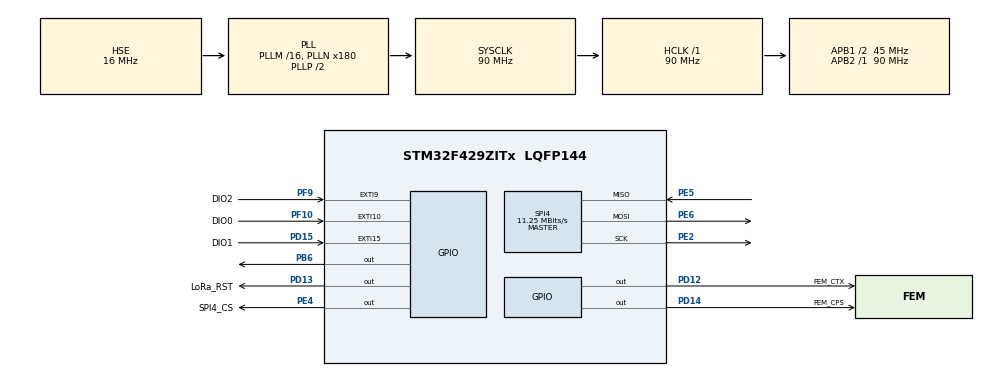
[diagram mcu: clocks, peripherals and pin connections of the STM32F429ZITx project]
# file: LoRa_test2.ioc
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Mcu.Family=STM32F4
Mcu.Name=STM32F429ZITx
Mcu.Package=LQFP144
NVIC.EXTI15_10_IRQn=true\:0\:0\:false\:false\:true\:true\:true\:true
NVIC.PriorityGroup=NVIC_PRIORITYGROUP_4
NVIC.SPI4_IRQn=true\:0\:0\:false\:false\:true\:true\:true\:true
NVIC.TIM2_IRQn=true\:0\:0\:false\:false\:true\:true\:true\:true
PA13.Mode=Serial_Wire
PA13.Signal=SYS_JTMS-SWDIO
PA14.Mode=Serial_Wire
PA14.Signal=SYS_JTCK-SWCLK
PB6.Signal=GPIO_Output
PC14/OSC32_IN.Mode=LSE-External-Oscillator
PC14/OSC32_IN.Signal=RCC_OSC32_IN
PC15/OSC32_OUT.Mode=LSE-External-Oscillator
PC15/OSC32_OUT.Signal=RCC_OSC32_OUT
PD12.GPIO_Label=FEM_CTX
PD12.Signal=GPIO_Output
PD13.GPIO_Label=LoRa_RST
PD13.PinState=GPIO_PIN_SET
PD13.Signal=GPIO_Output
PD14.GPIO_Label=FEM_CPS
PD14.Signal=GPIO_Output
PD15.GPIO_Label=DIO1
PD15.Signal=GPXTI15
PE2.Mode=Full_Duplex_Master
PE2.Signal=SPI4_SCK
PE4.GPIO_Label=SPI4_CS
PE4.PinState=GPIO_PIN_SET
PE4.Signal=GPIO_Output
PE5.Mode=Full_Duplex_Master
PE5.Signal=SPI4_MISO
PE6.Mode=Full_Duplex_Master
PE6.Signal=SPI4_MOSI
PF10.GPIO_Label=DIO0
PF10.Signal=GPXTI10
PF9.GPIO_Label=DIO2
PF9.Signal=GPXTI9
PH0/OSC_IN.Mode=HSE-External-Oscillator
PH0/OSC_IN.Signal=RCC_OSC_IN
PH1/OSC_OUT.Mode=HSE-External-Oscillator
PH1/OSC_OUT.Signal=RCC_OSC_OUT
ProjectManager.HeapSize=0x200
ProjectManager.StackSize=0x400
ProjectManager.TargetToolchain=STM32CubeIDE
RCC.48MHZClocksFreq_Value=45000000
RCC.AHBFreq_Value=90000000
RCC.APB1CLKDivider=RCC_HCLK_DIV2
RCC.APB1Freq_Value=45000000
RCC.APB1TimFreq_Value=90000000
RCC.APB2Freq_Value=90000000
RCC.APB2TimFreq_Value=90000000
RCC.CortexFreq_Value=90000000
RCC.HCLKFreq_Value=90000000
RCC.HSE_VALUE=16000000
RCC.HSI_VALUE=16000000
RCC.PLLN=180
RCC.PLLSourceVirtual=RCC_PLLSOURCE_HSE
RCC.SYSCLKFreq_VALUE=90000000
RCC.SYSCLKSource=RCC_SYSCLKSOURCE_PLLCLK
RCC.VCOOutputFreq_Value=180000000
SPI4.BaudRatePrescaler=SPI_BAUDRATEPRESCALER_8
SPI4.CalculateBaudRate=11.25 MBits/s
SPI4.Direction=SPI_DIRECTION_2LINES
SPI4.Mode=SPI_MODE_MASTER
SPI4.VirtualType=VM_MASTER
TIM2.AutoReloadPreload=TIM_AUTORELOAD_PRELOAD_ENABLE
TIM2.Period=9000
TIM2.Prescaler=10000
VP_TIM2_VS_ClockSourceINT.Mode=Internal
board=custom

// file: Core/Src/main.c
/* USER CODE BEGIN Header */
/**
  ******************************************************************************
  * @file           : main.c
  * @brief          : Main program body
  ******************************************************************************
  * @attention
  *
  * Copyright (c) 2023 STMicroelectronics.
  * All rights reserved.
  *
  * This software is licensed under terms that can be found in the LICENSE file
  * in the root directory of this software component.
  * If no LICENSE file comes with this software, it is provided AS-IS.
  *
  ******************************************************************************
  */
/* USER CODE END Header */
#include "main.h"
#include "spi.h"
#include "tim.h"
#include "gpio.h"

/* USER CODE BEGIN PV */
uint8_t check_ver;
uint8_t check_ver2;
uint8_t addrval;
bool testvar;
bool testvar2;
uint32_t costtime;
LoRa myLoRa;
float testfloat;
uint32_t lastTic;
uint16_t intervalTime;
uint8_t FlightModeON;
/* USER CODE END PV */

void SystemClock_Config(void);
/* USER CODE BEGIN PFP */
float hex2float(uint8_t* hexNum);
/* USER CODE END PFP */

int main(void)
{

  /* MCU Configuration--------------------------------------------------------*/

  /* Reset of all peripherals, Initializes the Flash interface and the Systick. */
  HAL_Init();

  /* Configure the system clock */
  SystemClock_Config();

  /* Initialize all configured peripherals */
  MX_GPIO_Init();
  MX_SPI4_Init();
  MX_TIM2_Init();
  /* USER CODE BEGIN 2 */

  myLoRa.hSPIx = &hspi4;
  myLoRa.CS_port = SPI4_CS_GPIO_Port;
  myLoRa.CS_pin = SPI4_CS_Pin;
  myLoRa.reset_port = LoRa_RST_GPIO_Port;
  myLoRa.reset_pin = LoRa_RST_Pin;
  myLoRa.DIO0_port = DIO0_GPIO_Port;
  myLoRa.DIO0_pin = DIO0_Pin;
  myLoRa.DIO1_port = DIO1_GPIO_Port;
  myLoRa.DIO1_pin = DIO1_Pin;
  myLoRa.DIO2_port = DIO2_GPIO_Port;
  myLoRa.DIO2_pin = DIO2_Pin;
  myLoRa.LoRa_modem = LORA_MODEM;
  myLoRa.frequency = 425;           //MHz
  myLoRa.bandWidth = BW_125KHz;
  myLoRa.crcRate = CR_4_5;
  myLoRa.implicit_on = EXPLICIT;
  myLoRa.CRCon = 0;
  myLoRa.spredingFactor = SF_7;
  myLoRa.preamble = 10;
  myLoRa.paselect = RFO;
  myLoRa.maxpower = 7;
  myLoRa.outputpower = 10;                //0~15
//  myLoRa.paselect = PA_BOOST;
//  myLoRa.maxpower = 7;
//  myLoRa.outputpower = 15;
  myLoRa.PaDac = 0x84;      //0x84:max power = 17dBm   0x87:max power = 20dBm in PA_BOOST pin//-4~15
  HAL_GPIO_WritePin(FEM_CPS_GPIO_Port, FEM_CPS_Pin, GPIO_PIN_SET);      //low frequency port switch, RESET for transmit, SET for receive
//  HAL_GPIO_WritePin(FEM_CTX_GPIO_Port, FEM_CTX_Pin, GPIO_PIN_RESET);    //high frequency port switch
  myLoRa.PaOcp = 20;                     //output current protect, default=0x0B=11, max=27
  myLoRa.TCXOon = 0;
  myLoRa.packetSize = 68;

  LoRa_init(&myLoRa);              //initialize LoRa configuration
  lastTic = 0;
  intervalTime = 1000;
  FlightModeON = 1;
//  HAL_TIM_Base_Start_IT(&htim2);
  /* USER CODE END 2 */

  /* Infinite loop */
  while (1)
  {

    /* USER CODE BEGIN 3 */

//	  HAL_GPIO_WritePin(GPIOB, GPIO_PIN_6, GPIO_PIN_SET);
//	  HAL_Delay(1);
//	  HAL_GPIO_WritePin(GPIOB, GPIO_PIN_6, GPIO_PIN_RESET);
//	  HAL_Delay(100);
	  //test program of LoRa_readReg(), SPI send to MOSI: register address, SPI read from MISO: register data
//	  uint8_t adrs = 0x00;
//	  uint16_t adrs_leng = sizeof(adrs);
//	  uint8_t output;
//	  uint16_t output_length = 1;
//	  LoRa_readReg(&myLoRa, &adrs, adrs_leng, &check_ver, output_length);  //in LoRa user manual, read register = 0XXXXXXX
//	  addrval = output;

	  //test program of LoRa_writeReg(), SPI send to MOSIc: 1.register address 2.1 Byte data
//	  uint8_t adrs2 = SX127x_OpMode;
//	  uint16_t adrs2_leng = sizeof(adrs2);
//	  uint8_t send_value;
//	  send_value = 0x01;
//	  adrs2 = adrs2|0x80;   //in LoRa user manual, write register = 1XXXXXXX
//	  uint16_t send_length = 1;
//	  LoRa_writeReg(&myLoRa, &adrs2, adrs2_leng, &send_value, send_length);

	  //test program of LoRa_read_single()
//	  uint8_t adrs3 = SX127x_OpMode;
//	  uint8_t output2;
//	  output2 = LoRa_read_single(&myLoRa, adrs3);

	  //test program of LoRa_write_single()
//	  uint8_t adrs4 = SX127x_OpMode;
//	  uint8_t send_value2;
//	  send_value2 = 0x09;
//	  LoRa_write_single(&myLoRa, adrs4, send_value2);

	  //test program of LoRa_BurstWrite()
//	  uint8_t adrs4 = SX127x_OpMode;
//	  uint8_t send_value2[2];
//	  uint8_t value2_leng = sizeof(send_value2);
//	  send_value2[0] = 0x09;
//	  send_value2[1] = 0x01;
//	  LoRa_BurstWrite(&myLoRa, adrs4, send_value2, value2_leng);

	  //test program of LoRa_gotoMode()
//	  LoRa_gotoMode(&myLoRa, STANDBY_MODE);
//	  HAL_GPIO_WritePin(GPIOB, GPIO_PIN_6, GPIO_PIN_SET);

//	  testvar=1;
//	  //test program of LoRa_transmit()
//	  uint8_t send_value3[myLoRa.packetSize];
//	  uint8_t value3_leng = sizeof(send_value3)/sizeof(send_value3[0]);
//	  uint8_t state;
//
//	  for (int i = 0; i<myLoRa.packetSize;i++){
//		  send_value3[i]=i;
//	  }
//	  state = LoRa_transmit(&myLoRa, send_value3, value3_leng, TRANSMIT_TIMEOUT);
//
//	  testvar=0;
////	  HAL_GPIO_WritePin(GPIOB, GPIO_PIN_6, GPIO_PIN_RESET);
//	  HAL_Delay(500);

	  //LoRa_transmit()
//	  uint8_t send_value[myLoRa.packetSize];
//	  uint8_t send_leng = sizeof(send_value)/sizeof(send_value[0]);
//	  uint8_t state;
////	  assign transmit data start
//	  for (int i = 0;i<=myLoRa.packetSize;i++){
//		  send_value[i] = i;
//	  }
////	  assign transmit data end
//	  HAL_GPIO_WritePin(FEM_CPS_GPIO_Port, FEM_CPS_Pin, GPIO_PIN_RESET);      //low frequency port switch, RESET for transmit, SET for receive
//      state = LoRa_transmit(&myLoRa, send_value, send_leng, TRANSMIT_TIMEOUT);

	  //LoRa_receive()
      uint8_t read_value[128];
      uint8_t read_leng = sizeof(read_value)/sizeof(read_value[0]);
      HAL_GPIO_WritePin(FEM_CPS_GPIO_Port, FEM_CPS_Pin, GPIO_PIN_SET);      //low frequency port switch, RESET for transmit, SET for receive
      check_ver = LoRa_receive(&myLoRa, read_value, read_leng);//return received size
      for(int i =0;i<read_leng;i++){
    	  check_ver2 = read_value[i];
      }

/*
	  //IMU data structure
	  PacketCounter_adrs[0] = 0x10;
	  PacketCounter_adrs[1] = 0x20;
	  PacketCounter_length = 0x02;
	  PacketCounter_value[0] = 0x12; //12F5(hex) = 4853(dec)
	  PacketCounter_value[1] = 0xF5;

	  SampleTimeFine_adrs[0] = 0x10;
	  SampleTimeFine_adrs[0] = 0x60;
	  SampleTimeFine_length = 0x04;
	  SampleTimeFine_value[0] = 0x00;
	  SampleTimeFine_value[1] = 0x61;
	  SampleTimeFine_value[2] = 0x61;
	  SampleTimeFine_value[3] = 0x4A;

	  DeltaV_adrs[0] = 0x40;
	  DeltaV_adrs[1] = 0x10;
	  DeltaV_length = 0x0C;
	  DeltaV_x_value[0] = 0xBF;  //float to hex method(f2h): (sign bit)(1.mantissa(dec)*2^(exponent(dec)-127))
	  DeltaV_x_value[1] = 0x13;
	  DeltaV_x_value[2] = 0x12;
	  DeltaV_x_value[3] = 0x66;
	  DeltaV_y_value[0] = 0xBC;
	  DeltaV_y_value[1] = 0x33;
	  DeltaV_y_value[2] = 0xE5;
	  DeltaV_y_value[3] = 0xFE;
	  DeltaV_z_value[0] = 0x3F;
	  DeltaV_z_value[1] = 0x4A;
	  DeltaV_z_value[2] = 0x4C;
	  DeltaV_z_value[3] = 0x80;*/

//	  uint8_t EulerAngles_Roll[4];
//	  EulerAngles_adrs[0] = 0x20;
//	  EulerAngles_adrs[1] = 0x30;
//	  EulerAngles_length = 0x0C; //length = 12
//	  EulerAngles_Roll[0] = 0x00;  //f2h    read from IMU
//	  EulerAngles_Roll[1] = 0x00;
//	  EulerAngles_Roll[2] = 0xF4;
//	  EulerAngles_Roll[3] = 0x41;
//	  testfloat = hex2float(EulerAngles_Roll);     //hex convert to float example
//	  EulerAngles_Pitch[0] = 0xE4;
//	  EulerAngles_Pitch[1] = 0x43;
//	  EulerAngles_Pitch[2] = 0x28;
//	  EulerAngles_Pitch[3] = 0x50;
//	  EulerAngles_Yaw[0] = 0xCE;
//	  EulerAngles_Yaw[1] = 0x40;
//	  EulerAngles_Yaw[2] = 0x10;
//	  EulerAngles_Yaw[3] = 0x0C;

 /* FreeAcceleration_adrs[0] = 0x40;
	  FreeAcceleration_adrs[1] = 0x30;
	  FreeAcceleration_length = 0x0C;
	  FreeAcceleration_x_value[0] = 0x3D;  //f2h
	  FreeAcceleration_x_value[1] = 0x32;
	  FreeAcceleration_x_value[2] = 0xA1;
	  FreeAcceleration_x_value[3] = 0xA8;
	  FreeAcceleration_y_value[0] = 0xBC;
	  FreeAcceleration_y_value[1] = 0x19;
	  FreeAcceleration_y_value[2] = 0x9B;
	  FreeAcceleration_y_value[3] = 0xE5;
	  FreeAcceleration_z_value[0] = 0x3C;
	  FreeAcceleration_z_value[1] = 0x42;
	  FreeAcceleration_z_value[2] = 0x0C;
	  FreeAcceleration_z_value[3] = 0x00;

	  RateOfTurn_adrs[0] = 0x80;
	  RateOfTurn_adrs[1] = 0x20;
	  RateOfTurn_length = 0x0C;
	  RateOfTurn_x_value[0] = 0xBD;  //f2h
	  RateOfTurn_x_value[1] = 0x30;
	  RateOfTurn_x_value[2] = 0x11;
	  RateOfTurn_x_value[3] = 0x60;
	  RateOfTurn_y_value[0] = 0x3D;
	  RateOfTurn_y_value[1] = 0x0A;
	  RateOfTurn_y_value[2] = 0xC0;
	  RateOfTurn_y_value[3] = 0x6D;
	  RateOfTurn_z_value[0] = 0xBC;
	  RateOfTurn_z_value[1] = 0x9F;
	  RateOfTurn_z_value[2] = 0x7A;
	  RateOfTurn_z_value[3] = 0x18;

	  DeltaQ_adrs[0] = 0x80;
	  DeltaQ_adrs[1] = 0x30;
	  DeltaQ_length = 0x10;  //length = 16
	  DeltaQ_q0_value[0] = 0x3F;  //f2h
	  DeltaQ_q0_value[1] = 0x7F;
	  DeltaQ_q0_value[2] = 0xFF;
	  DeltaQ_q0_value[3] = 0xB8;
	  DeltaQ_q1_value[0] = 0xBB;
	  DeltaQ_q1_value[1] = 0x0E;
	  DeltaQ_q1_value[2] = 0x3E;
	  DeltaQ_q1_value[3] = 0x1D;
	  DeltaQ_q2_value[0] = 0x3A;
	  DeltaQ_q2_value[1] = 0xDA;
	  DeltaQ_q2_value[2] = 0xED;
	  DeltaQ_q2_value[3] = 0x2E;
	  DeltaQ_q3_value[0] = 0xBA;
	  DeltaQ_q3_value[1] = 0x80;
	  DeltaQ_q3_value[2] = 0xAC;
	  DeltaQ_q3_value[3] = 0x88;

	  Temperature_adrs[0] = 0x08;
	  Temperature_adrs[1] = 0x10;
	  Temperature_length = 0x04;
	  Temperature_value[0] = 0x41;  //f2h
	  Temperature_value[1] = 0xF2;
	  Temperature_value[2] = 0xA0;
	  Temperature_value[3] = 0x00;

	  BaroPressure_adrs[0] = 0x30;
	  BaroPressure_adrs[1] = 0x10;
	  BaroPressure_length = 0x04;
	  BaroPressure_value[0] = 0x00;
	  BaroPressure_value[1] = 0x01;
	  BaroPressure_value[2] = 0x84;
	  BaroPressure_value[3] = 0x4E;

	  StatusWord_adrs[0] = 0xE0;
	  StatusWord_adrs[1] = 0x20;
	  StatusWord_length = 0x04;
	  StatusWord_value[0] = 0x00;
	  StatusWord_value[1] = 0x00;
	  StatusWord_value[2] = 0x00;
	  StatusWord_value[3] = 0x03;

	  //motor data
	  motor_deflect_adrs = 0x00;  //define by myself
	  motor_deflect_length = 0x04;
	  motor_deflect_value[0] = 0x01;
	  motor_deflect_value[1] = 0x02;
	  motor_deflect_value[2] = 0x03;
	  motor_deflect_value[3] = 0x04;
*/

//	  switch (FlightModeON){
//	  case 1://on the ground
//	  //LoRa_transmit()
//	  uint8_t send_value[myLoRa.packetSize];
//	  uint8_t send_leng = sizeof(send_value)/sizeof(send_value[0]);
//	  uint8_t state;
////	  assign transmit data start
//	  for (int i = 0;i<=myLoRa.packetSize;i++){
//		  send_value[i] = i;
//	  }
////	  assign transmit data end
//	  HAL_GPIO_WritePin(FEM_CPS_GPIO_Port, FEM_CPS_Pin, GPIO_PIN_RESET);      //low frequency port switch, RESET for transmit, SET for receive
//      state = LoRa_transmit(&myLoRa, send_value, send_leng, TRANSMIT_TIMEOUT);
//
//	  //LoRa_receive()
//      lastTic = HAL_GetTick();
//      while(HAL_GetTick()-lastTic<intervalTime){
//    	  uint8_t read_value[2];
//    	  uint8_t read_leng = sizeof(read_value)/sizeof(read_value[0]);
//    	  HAL_GPIO_WritePin(FEM_CPS_GPIO_Port, FEM_CPS_Pin, GPIO_PIN_SET);      //low frequency port switch, RESET for transmit, SET for receive
//    	  check_ver = LoRa_receive(&myLoRa, read_value, 0);//return received size
//      }
//		  break;
//	  case 2://flight mode
//		  send_length = sizeof(send_value)/sizeof(send_value[0]);
//		  state = LoRa_transmit(&myLoRa, send_value, send_length, TRANSMIT_TIMEOUT);
//		  break;
//	  }

//	  for (int i = 0;i<=3;i++){
//		  send_value[i] = EulerAngles_Roll[i];
//	  }
//	  state = LoRa_transmit(&myLoRa, send_value, value3_leng, TRANSMIT_TIMEOUT);

//	  HAL_GPIO_WritePin(GPIOB, GPIO_PIN_6, GPIO_PIN_RESET);
//	  HAL_Delay(200);
//	  testvar = 0;
  }
  /* USER CODE END 3 */
}

void SystemClock_Config(void)
{
  RCC_OscInitTypeDef RCC_OscInitStruct = {0};
  RCC_ClkInitTypeDef RCC_ClkInitStruct = {0};

  /** Configure the main internal regulator output voltage
  */
  __HAL_RCC_PWR_CLK_ENABLE();
  __HAL_PWR_VOLTAGESCALING_CONFIG(PWR_REGULATOR_VOLTAGE_SCALE3);

  /** Initializes the RCC Oscillators according to the specified parameters
  * in the RCC_OscInitTypeDef structure.
  */
  RCC_OscInitStruct.OscillatorType = RCC_OSCILLATORTYPE_HSE;
  RCC_OscInitStruct.HSEState = RCC_HSE_ON;
  RCC_OscInitStruct.PLL.PLLState = RCC_PLL_ON;
  RCC_OscInitStruct.PLL.PLLSource = RCC_PLLSOURCE_HSE;
  RCC_OscInitStruct.PLL.PLLM = 16;
  RCC_OscInitStruct.PLL.PLLN = 180;
  RCC_OscInitStruct.PLL.PLLP = RCC_PLLP_DIV2;
  RCC_OscInitStruct.PLL.PLLQ = 4;
  if (HAL_RCC_OscConfig(&RCC_OscInitStruct) != HAL_OK)
  {
    Error_Handler();
  }

  /** Activate the Over-Drive mode
  */
  if (HAL_PWREx_EnableOverDrive() != HAL_OK)
  {
    Error_Handler();
  }

  /** Initializes the CPU, AHB and APB buses clocks
  */
  RCC_ClkInitStruct.ClockType = RCC_CLOCKTYPE_HCLK|RCC_CLOCKTYPE_SYSCLK
                              |RCC_CLOCKTYPE_PCLK1|RCC_CLOCKTYPE_PCLK2;
  RCC_ClkInitStruct.SYSCLKSource = RCC_SYSCLKSOURCE_PLLCLK;
  RCC_ClkInitStruct.AHBCLKDivider = RCC_SYSCLK_DIV1;
  RCC_ClkInitStruct.APB1CLKDivider = RCC_HCLK_DIV2;
  RCC_ClkInitStruct.APB2CLKDivider = RCC_HCLK_DIV1;

  if (HAL_RCC_ClockConfig(&RCC_ClkInitStruct, FLASH_LATENCY_2) != HAL_OK)
  {
    Error_Handler();
  }
}

/* USER CODE BEGIN 4 */
float hex2float(uint8_t* hexNum){
    union {
        char conv_char[4];
        float output_float;
    } uni;
    uni.conv_char[3] = (char)(hexNum[3]);
    uni.conv_char[2] = (char)(hexNum[2]);
    uni.conv_char[1] = (char)(hexNum[1]);
    uni.conv_char[0] = (char)(hexNum[0]);

    return uni.output_float;
}

void HAL_TIM_PeriodElapsedCallback(TIM_HandleTypeDef* htim)
{
//	testvar=1;
//	HAL_GPIO_WritePin(GPIOB, GPIO_PIN_6, GPIO_PIN_RESET);

}

/* USER CODE END 4 */

void Error_Handler(void)
{
  __disable_irq();
  while (1)
  {
  }
}
